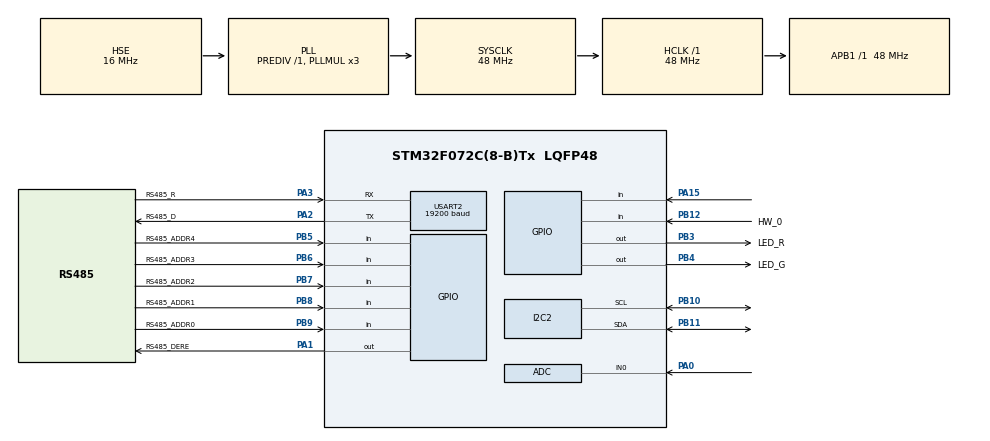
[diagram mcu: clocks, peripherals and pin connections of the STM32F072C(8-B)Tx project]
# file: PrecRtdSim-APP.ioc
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I2C2.Timing=0x20303E5D
Mcu.Family=STM32F0
Mcu.Name=STM32F072C(8-B)Tx
Mcu.Package=LQFP48
PA0.Mode=IN0
PA0.Signal=ADC_IN0
PA1.GPIO_Label=RS485_DERE
PA1.Signal=GPIO_Output
PA10.Signal=USART1_RX
PA13.Mode=Serial_Wire
PA13.Signal=SYS_SWDIO
PA14.Mode=Serial_Wire
PA14.Signal=SYS_SWCLK
PA15.Signal=GPIO_Input
PA2.GPIO_Label=RS485_D
PA2.Mode=Asynchronous
PA2.Signal=USART2_TX
PA3.GPIO_Label=RS485_R
PA3.Mode=Asynchronous
PA3.Signal=USART2_RX
PA9.Signal=USART1_TX
PB10.Mode=I2C
PB10.Signal=I2C2_SCL
PB11.Mode=I2C
PB11.Signal=I2C2_SDA
PB12.GPIO_Label=HW_0
PB12.Signal=GPIO_Input
PB3.GPIO_Label=LED_R
PB3.Signal=GPIO_Output
PB4.GPIO_Label=LED_G
PB4.Signal=GPIO_Output
PB5.GPIO_Label=RS485_ADDR4
PB5.GPIO_PuPd=GPIO_PULLUP
PB5.Signal=GPIO_Input
PB6.GPIO_Label=RS485_ADDR3
PB6.GPIO_PuPd=GPIO_PULLUP
PB6.Signal=GPIO_Input
PB7.GPIO_Label=RS485_ADDR2
PB7.GPIO_PuPd=GPIO_PULLUP
PB7.Signal=GPIO_Input
PB8.GPIO_Label=RS485_ADDR1
PB8.GPIO_PuPd=GPIO_PULLUP
PB8.Signal=GPIO_Input
PB9.GPIO_Label=RS485_ADDR0
PB9.GPIO_PuPd=GPIO_PULLUP
PB9.Signal=GPIO_Input
PF0-OSC_IN.Mode=HSE-External-Oscillator
PF0-OSC_IN.Signal=RCC_OSC_IN
PF1-OSC_OUT.Mode=HSE-External-Oscillator
PF1-OSC_OUT.Signal=RCC_OSC_OUT
ProjectManager.HeapSize=0x200
ProjectManager.StackSize=0x400
ProjectManager.TargetToolchain=STM32CubeIDE
RCC.AHBFreq_Value=48000000
RCC.APB1Freq_Value=48000000
RCC.APB1TimFreq_Value=48000000
RCC.HCLKFreq_Value=48000000
RCC.HSE_VALUE=16000000
RCC.PLLMUL=RCC_PLL_MUL3
RCC.PLLSourceVirtual=RCC_PLLSOURCE_HSE
RCC.SYSCLKFreq_VALUE=48000000
RCC.SYSCLKSource=RCC_SYSCLKSOURCE_PLLCLK
USART2.BaudRate=19200
USART2.Parity=PARITY_EVEN
USART2.VirtualMode-Asynchronous=VM_ASYNC
USART2.WordLength=WORDLENGTH_8B
VP_CRC_VS_CRC.Mode=CRC_Activate
VP_IWDG_VS_IWDG.Mode=IWDG_Activate
VP_TIM3_VS_ClockSourceINT.Mode=Internal
board=custom

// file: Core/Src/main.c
/* USER CODE BEGIN Header */
/**
  ******************************************************************************
  * @file           : main.c
  * @brief          : Main program body
  ******************************************************************************
  * @attention
  *
  * Copyright (c) 2023 STMicroelectronics.
  * All rights reserved.
  *
  * This software is licensed under terms that can be found in the LICENSE file
  * in the root directory of this software component.
  * If no LICENSE file comes with this software, it is provided AS-IS.
  *
  ******************************************************************************
  */
/* USER CODE END Header */
#include "main.h"
#include "adc.h"
#include "crc.h"
#include "i2c.h"
#include "iwdg.h"
#include "tim.h"
#include "usart.h"
#include "gpio.h"
#include <string.h>

/* USER CODE BEGIN Includes */
#include "common.h"

#include "modbus_slave.h"
#include "configuration.h"
#include "mb_upgrade.h"
#include "system_msp.h"
#include "switch.h"
#include "adc.h"
#include "control.h"
#include "flash_app.h"
#include "led.h"
#include "RTD_lib.h"
#include "MAX7300.h"
#include "RTD_Handle.h"
#include "PCA9505.h"

/* USER CODE END Includes */

void SystemClock_Config(void);

int main(void)
{
  /* USER CODE BEGIN 1 */
  uint32_t tick = 0;

  /* Remap reset vector and enable interrupts */
  System_RemapApplicationVector();
  __enable_irq();
  /* USER CODE END 1 */

  /* MCU Configuration--------------------------------------------------------*/

  /* Reset of all peripherals, Initializes the Flash interface and the Systick. */
  HAL_Init();

  /* Configure the system clock */
  SystemClock_Config();

  /* Initialize all configured peripherals */
  MX_GPIO_Init();
  MX_ADC_Init();
  MX_CRC_Init();
  MX_IWDG_Init();
  MX_USART2_UART_Init();
  MX_TIM3_Init();
  MX_I2C2_Init();
  /* USER CODE BEGIN 2 */

  /* Initialize all configured peripherals */
  System_InitWdg();
  System_CrcInit();
  Config_Init();
  FlashApp_Init();
  MbSlave_Init();
  Led_Init();
  Switch_Init();
  Control_Init();
  RTD_Init();
  MAX_Init(&hi2c2);
  MAX_conf();

//  conf.rtd.exp_board_addr1 = ADDR1_000;
//  conf.rtd.exp_board_addr2 = ADDR2_111;
//  conf.rtd.channel_select = 0;

//  conf.rtd.resistance = 20000;
//  PCA_InitFromConf(&hi2c2);

//
//  /* postupně kanály 0–4 */
//  for (uint8_t ch = 0; ch <= 4; ch++)
//  {
//      conf.rtd.channel_select = ch;
//
//      switch (ch) {
//          case 0: conf.rtd.resistance = 1000; break;
//          case 1: conf.rtd.resistance = 10000; break;
//          case 2: conf.rtd.resistance = 20000; break;
//          case 3: conf.rtd.resistance = 30000; break;
//          case 4: conf.rtd.resistance = 40000; break;
//      }
//
//      /* zavoláme driver */
//      set_switch_rezistor(conf.rtd.resistance, 0, 0);
//
//      /* pro debug blikneme LEDku na desce */
//      HAL_GPIO_TogglePin(GPIOC, GPIO_PIN_13);
//
//      HAL_Delay(300); /* čekej sekundu a pak další kanál */
//  }

 // set_switch_rezistor(conf.rtd.resistance, 0, 0);

  /* USER CODE END 2 */

  /* Infinite loop */
  /* USER CODE BEGIN WHILE */
  while (1)
  {
    /* High priority handles */
    MbSlave_Handle();

    /* Low priority - slow handles */
    if (TICK_EXPIRED(tick))
    {
      tick = HAL_GetTick() + PERIOD_HANDLE_LOW_PRIO;
      conf.sys.io_input = Switch_GetAll();
      Control_Handle();
      MbSlave_UpdateSlaveAddress();

      if (Switch_GetPressed() > (5000 - 750) / PERIOD_HANDLE_LOW_PRIO)
      {
        FlashApp_RequestFactorySettings();
      }
      if (Switch_GetReleased() > 0 && Switch_GetReleased() <= (2500 - 750) / PERIOD_HANDLE_LOW_PRIO)
      {
        System_Reset();
      }

      FlashApp_Handle();
      System_ReloadWdg();

      RTD_Handle();

    }

    /* USER CODE END WHILE */

  }
}

void SystemClock_Config(void)
{
  RCC_OscInitTypeDef RCC_OscInitStruct = {0};
  RCC_ClkInitTypeDef RCC_ClkInitStruct = {0};
  RCC_PeriphCLKInitTypeDef PeriphClkInit = {0};

  /** Initializes the RCC Oscillators according to the specified parameters
  * in the RCC_OscInitTypeDef structure.
  */
  RCC_OscInitStruct.OscillatorType = RCC_OSCILLATORTYPE_HSI14|RCC_OSCILLATORTYPE_LSI
                              |RCC_OSCILLATORTYPE_HSE;
  RCC_OscInitStruct.HSEState = RCC_HSE_ON;
  RCC_OscInitStruct.HSI14State = RCC_HSI14_ON;
  RCC_OscInitStruct.HSI14CalibrationValue = 16;
  RCC_OscInitStruct.LSIState = RCC_LSI_ON;
  RCC_OscInitStruct.PLL.PLLState = RCC_PLL_ON;
  RCC_OscInitStruct.PLL.PLLSource = RCC_PLLSOURCE_HSE;
  RCC_OscInitStruct.PLL.PLLMUL = RCC_PLL_MUL3;
  RCC_OscInitStruct.PLL.PREDIV = RCC_PREDIV_DIV1;
  if (HAL_RCC_OscConfig(&RCC_OscInitStruct) != HAL_OK)
  {
    Error_Handler();
  }

  /** Initializes the CPU, AHB and APB buses clocks
  */
  RCC_ClkInitStruct.ClockType = RCC_CLOCKTYPE_HCLK|RCC_CLOCKTYPE_SYSCLK
                              |RCC_CLOCKTYPE_PCLK1;
  RCC_ClkInitStruct.SYSCLKSource = RCC_SYSCLKSOURCE_PLLCLK;
  RCC_ClkInitStruct.AHBCLKDivider = RCC_SYSCLK_DIV1;
  RCC_ClkInitStruct.APB1CLKDivider = RCC_HCLK_DIV1;

  if (HAL_RCC_ClockConfig(&RCC_ClkInitStruct, FLASH_LATENCY_1) != HAL_OK)
  {
    Error_Handler();
  }
  PeriphClkInit.PeriphClockSelection = RCC_PERIPHCLK_USART2;
  PeriphClkInit.Usart2ClockSelection = RCC_USART2CLKSOURCE_PCLK1;
  if (HAL_RCCEx_PeriphCLKConfig(&PeriphClkInit) != HAL_OK)
  {
    Error_Handler();
  }
}

/* USER CODE BEGIN 4 */

void HAL_UART_RxCpltCallback(UART_HandleTypeDef *huart)
{
  /* UART receive complete Callbacks */
  MbSlave_RxCpltCallback(huart);
}

void HAL_UART_TxCpltCallback(UART_HandleTypeDef *huart)
{
  /* UART transmit complete Callbacks */
  MbSlave_TxCpltCallback(huart);
}

void HAL_UART_ErrorCallback(UART_HandleTypeDef *huart)
{
  /* UART error Callbacks */
  MbSlave_ErrorCallback(huart);
}

#define FW_UPGR_MASK            0xFFFF
#define FW_UPGR_VALUE_FIRM      CONF_TARGET_DEVICE

Status_t MbUpgr_HeaderClb(uint16_t type, uint16_t mode, uint32_t size)
{
  Status_t ret = STATUS_OK;

  if ((type & FW_UPGR_MASK) == FW_UPGR_VALUE_FIRM)
  {
    switch (mode)
    {
      case MB_UPGR_MODE_ERASE_AT_START:
        ret = System_FlashErase((uint32_t)CONF_C_APP_BUFFER_OFFSET, (uint32_t)CONF_C_APP_BUFFER_OFFSET + size);
        break;
      case MB_UPGR_MODE_APPLY:
        System_Delay(1000);
        System_Reset();
        break;
      default:
        break;
    }
  }
  else
  {
    ret = STATUS_ERROR;
  }

  return ret;
}

Status_t MbUpgr_WritePageClb(uint32_t offset, uint8_t *data, uint16_t length)
{
  Status_t ret = STATUS_OK;

  /* Write new data into flash */
  ret = System_FlashProgram((uint32_t)CONF_C_APP_BUFFER_OFFSET + offset, data, length);

  return ret;
}

Status_t MbUpgr_WriteDoneClb(uint32_t length)
{
  Status_t ret = STATUS_OK;

  if ((MbUpgr_GetType() & FW_UPGR_MASK) == FW_UPGR_VALUE_FIRM)
  {
    /* The very last packet, verify image */
    ret = System_VerifyImage((uint32_t*) CONF_C_APP_BUFFER_OFFSET);

    /* In case of error, erase application buffer */
    if (ret)
    {
      System_FlashErase((uint32_t)CONF_C_APP_BUFFER_OFFSET, (uint32_t)CONF_C_APP_BUFFER_OFFSET + length);
    }
  }
  else
  {
    ret = STATUS_ERROR;
  }

  return ret;
}

/* USER CODE END 4 */

void Error_Handler(void)
{
  __disable_irq();
  while (1)
  {
  }
}
